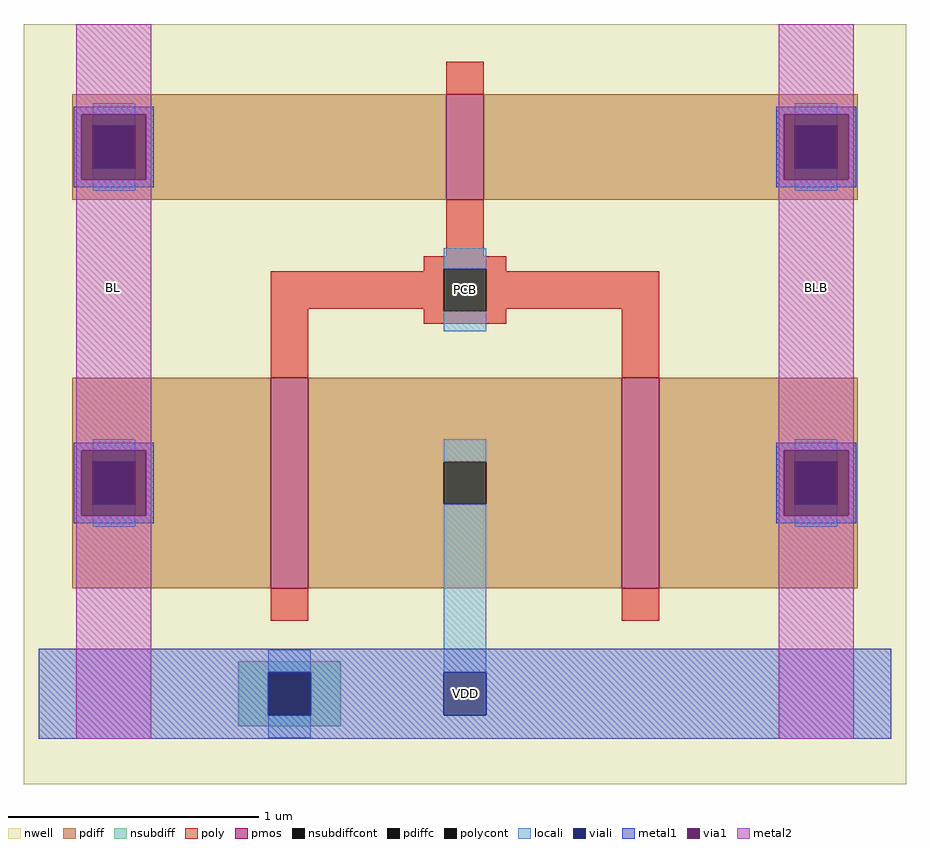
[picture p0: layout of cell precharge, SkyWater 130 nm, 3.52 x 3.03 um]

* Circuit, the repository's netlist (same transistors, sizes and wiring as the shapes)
.subckt precharge bl blb pcb vdd
XXP1 bl pcb vdd vdd sky130_fd_pr__pfet_01v8 L=0.15 W=0.84 nf=1 m=1
XXP2 blb pcb vdd vdd sky130_fd_pr__pfet_01v8 L=0.15 W=0.84 nf=1 m=1
XXP3 bl pcb blb vdd sky130_fd_pr__pfet_01v8 L=0.15 W=0.42 nf=1 m=1
.ends

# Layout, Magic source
magic
tech sky130A
magscale 1 2
<< nwell >>
rect -72 -36 632 570
<< pmos >>
rect 265 430 295 514
rect 125 120 155 288
rect 405 120 435 288
<< pdiff >>
rect -33 489 265 514
rect -33 455 -17 489
rect 17 455 265 489
rect -33 430 265 455
rect 295 489 593 514
rect 295 455 543 489
rect 577 455 593 489
rect 295 430 593 455
rect -33 221 125 288
rect -33 187 -17 221
rect 17 187 125 221
rect -33 120 125 187
rect 155 221 405 288
rect 155 187 263 221
rect 297 187 405 221
rect 155 120 405 187
rect 435 221 593 288
rect 435 187 543 221
rect 577 187 593 221
rect 435 120 593 187
<< pdiffc >>
rect -17 455 17 489
rect 543 455 577 489
rect -17 187 17 221
rect 263 187 297 221
rect 543 187 577 221
<< nsubdiff >>
rect 99 53 181 62
rect 99 19 123 53
rect 157 19 181 53
rect 99 10 181 19
<< nsubdiffcont >>
rect 123 19 157 53
<< poly >>
rect 265 514 295 540
rect 265 385 295 430
rect 247 375 313 385
rect 247 373 263 375
rect 125 343 263 373
rect 125 288 155 343
rect 247 341 263 343
rect 297 373 313 375
rect 297 343 435 373
rect 297 341 313 343
rect 247 331 313 341
rect 405 288 435 343
rect 125 94 155 120
rect 405 94 435 120
<< polycont >>
rect 263 341 297 375
<< locali >>
rect -17 489 17 507
rect -17 437 17 455
rect 543 489 577 507
rect 543 437 577 455
rect 263 375 297 391
rect 263 325 297 341
rect -17 221 17 239
rect -17 169 17 187
rect 263 221 297 239
rect 123 53 157 71
rect 263 53 297 187
rect 543 221 577 239
rect 543 169 577 187
rect 123 1 157 19
<< viali >>
rect -17 455 17 489
rect 543 455 577 489
rect -17 187 17 221
rect 123 19 157 53
rect 543 187 577 221
rect 263 19 297 53
<< metal1 >>
rect -32 498 32 504
rect -32 446 -26 498
rect 26 446 32 498
rect -32 440 32 446
rect 528 498 592 504
rect 528 446 534 498
rect 586 446 592 498
rect 528 440 592 446
rect -32 230 32 236
rect -32 178 -26 230
rect 26 178 32 230
rect -32 172 32 178
rect 528 230 592 236
rect 528 178 534 230
rect 586 178 592 230
rect 528 172 592 178
rect -60 53 620 72
rect -60 19 123 53
rect 157 19 263 53
rect 297 19 620 53
rect -60 0 620 19
<< via1 >>
rect -26 489 26 498
rect -26 455 -17 489
rect -17 455 17 489
rect 17 455 26 489
rect -26 446 26 455
rect 534 489 586 498
rect 534 455 543 489
rect 543 455 577 489
rect 577 455 586 489
rect 534 446 586 455
rect -26 221 26 230
rect -26 187 -17 221
rect -17 187 17 221
rect 17 187 26 221
rect -26 178 26 187
rect 534 221 586 230
rect 534 187 543 221
rect 543 187 577 221
rect 577 187 586 221
rect 534 178 586 187
<< metal2 >>
rect -30 498 30 570
rect -30 446 -26 498
rect 26 446 30 498
rect -30 230 30 446
rect -30 178 -26 230
rect 26 178 30 230
rect -30 0 30 178
rect 530 498 590 570
rect 530 446 534 498
rect 586 446 590 498
rect 530 230 590 446
rect 530 178 534 230
rect 586 178 590 230
rect 530 0 590 178
<< labels >>
rlabel polycont 280 358 280 358 0 PCB
port 1 nsew
rlabel viali 280 36 280 36 0 VDD
port 2 nsew
rlabel metal2 0 360 0 360 0 BL
port 3 nsew
rlabel metal2 560 360 560 360 0 BLB
port 4 nsew
<< end >>
